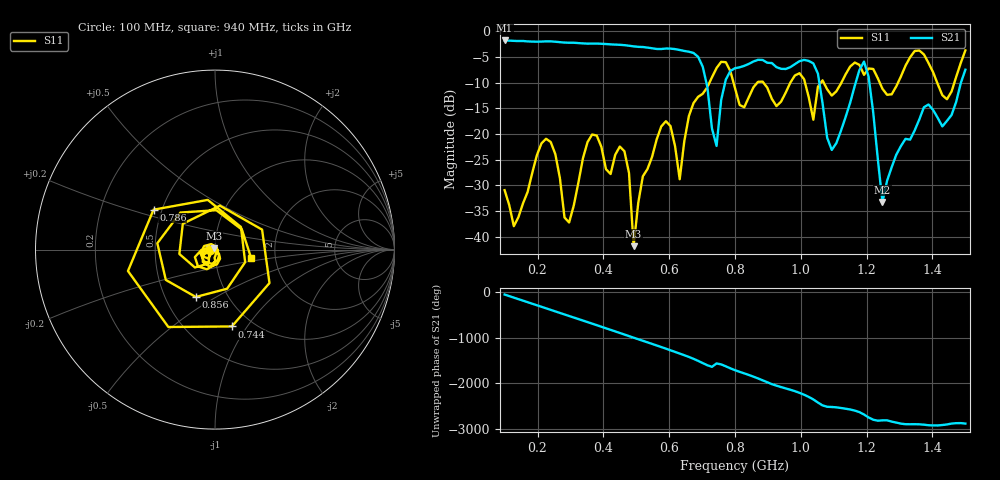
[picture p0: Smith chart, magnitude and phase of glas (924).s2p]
! NanoVNA-App
! Date: 2025-09-25 16:02:40
! Start: 100MHz Stop: 1,5GHz Points: 101
! S-Parameter data: F S11 S21 S12 S22
# Hz S RI R 50
!  Frequency  S11_Real  S11_Imag  S21_Real  S21_Imag  S12_Real  S12_Imag  S22_Real  S22_Imag
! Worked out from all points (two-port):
!   101 points, 100 MHz to 1.5 GHz, reference 50 ohm
!   highest |S21| = -1.80 dB at 100 MHz (marker M1); lowest = -33.2 dB at 1.248 GHz (marker M2)
!   |S21| within 3 dB of the highest: start of sweep to 684.6 MHz
!   lowest |S11| = -41.8 dB at 492 MHz (marker M3), VSWR 1.02, Z = 49.5 + j0.637 ohm
!   |S11| at or under -10 dB: start of sweep to 722.5 MHz; 795.5 MHz to 867.9 MHz (72.48 MHz wide, 8.71 % of centre); 886.3 MHz to 968.2 MHz (81.91 MHz wide, 8.83 % of centre) (the widest 3 of 7)
!   S12 and S22 are empty: the file has one direction only
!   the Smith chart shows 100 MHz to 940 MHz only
!   S11 on the Smith chart (normalised r, x): 100 MHz: 0.94, -0.01; 744 MHz: 0.80, -0.85; 786 MHz: 0.45, +0.24; 856 MHz: 0.71, -0.41; 940 MHz: 1.50, -0.15
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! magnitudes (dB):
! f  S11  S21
! 100 MHz  -30.9  -1.8
! 128 MHz  -37.9  -1.9
! 226 MHz  -20.9  -2.0
! 296 MHz  -37.2  -2.2
! 338 MHz  -24.7  -2.4
! 464 MHz  -23.3  -2.7
! 492 MHz  -41.8  -2.9
! 576 MHz  -18.5  -3.5
! 632 MHz  -28.8  -3.7
! 702 MHz  -12.2  -6.9
! 744 MHz  -7.2  -22.3
! 786 MHz  -7.8  -7.7
! 800 MHz  -11.1  -7.2
! 856 MHz  -10.9  -5.9
! 940 MHz  -13.7  -7.3
! 996 MHz  -8.2  -5.8
! 1.038 GHz  -17.2  -6.3
! 1.094 GHz  -12.5  -23.1
! 1.192 GHz  -8.5  -5.9
! 1.248 GHz  -11.2  -33.2
! 1.276 GHz  -12.3  -26.5
! 1.5 GHz  -3.7  -7.5
